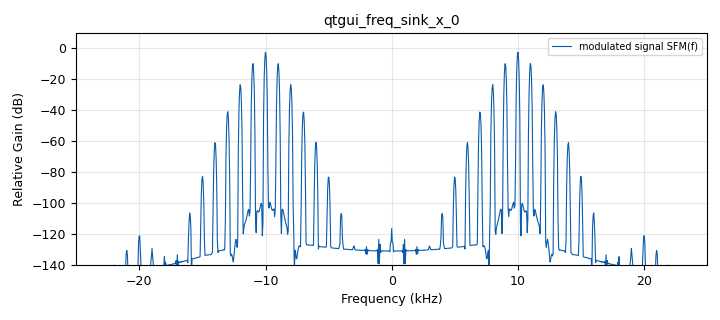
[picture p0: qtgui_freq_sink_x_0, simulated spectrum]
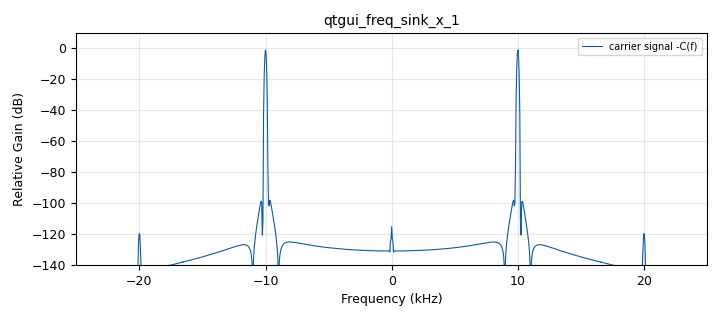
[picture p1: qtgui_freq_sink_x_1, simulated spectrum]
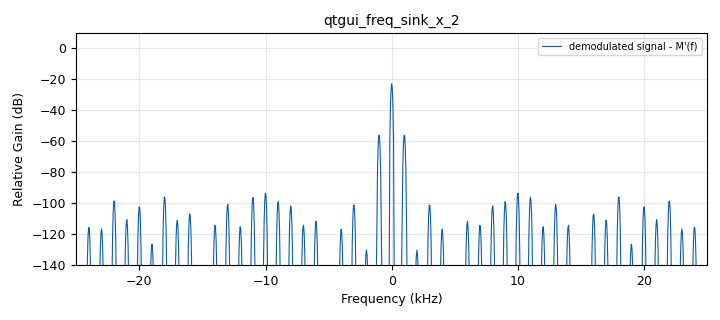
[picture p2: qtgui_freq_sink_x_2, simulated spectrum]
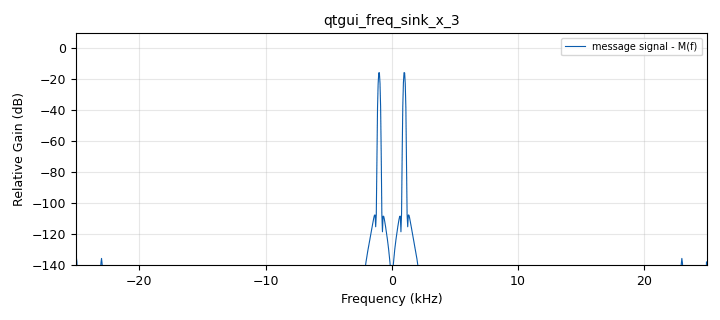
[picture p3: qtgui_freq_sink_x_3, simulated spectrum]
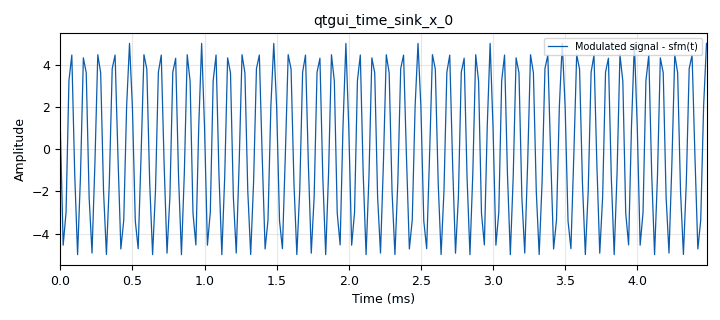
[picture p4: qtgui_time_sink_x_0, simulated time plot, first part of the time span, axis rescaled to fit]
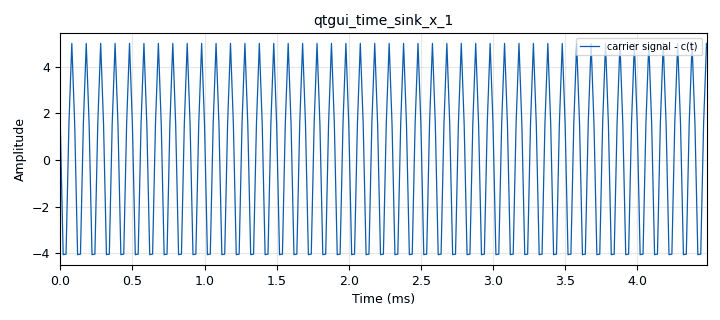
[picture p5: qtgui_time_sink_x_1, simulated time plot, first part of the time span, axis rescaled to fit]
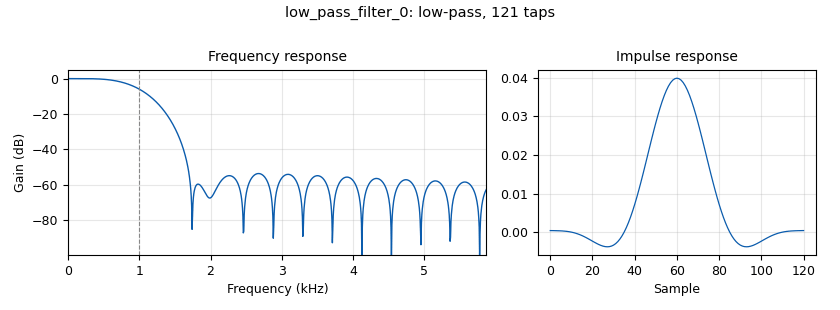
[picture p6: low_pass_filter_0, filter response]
options:
  parameters:
    author: saman
    generate_options: qt_gui
    id: fm
    output_language: python
    title: Not titled yet
  states: {}

blocks:
- name: samp_rate
  id: variable
  parameters:
    value: '50000'
  states: {}
- name: analog_sig_source_x_0
  id: analog_sig_source_x
  parameters:
    alias: Message signal
    amp: '1'
    freq: '1000'
    offset: '0'
    phase: '0'
    samp_rate: samp_rate
    type: float
    waveform: analog.GR_SIN_WAVE
  states: {}
- name: analog_sig_source_x_1
  id: analog_sig_source_x
  parameters:
    amp: '5'
    freq: '10000'
    offset: '0'
    phase: '0'
    samp_rate: samp_rate
    type: float
    waveform: analog.GR_COS_WAVE
  states: {}
- name: analog_sig_source_x_2
  id: analog_sig_source_x
  parameters:
    amp: '5'
    freq: '10000'
    offset: '0'
    phase: '0'
    samp_rate: samp_rate
    type: float
    waveform: analog.GR_SIN_WAVE
  states: {}
- name: blocks_add_xx_0
  id: blocks_add_xx
  parameters:
    type: float
  states: {}
- name: blocks_multiply_const_vxx_0
  id: blocks_multiply_const_vxx
  parameters:
    const: '0.8'
    type: float
  states: {}
- name: blocks_multiply_xx_0
  id: blocks_multiply_xx
  parameters:
    type: float
  states: {}
- name: blocks_multiply_xx_1
  id: blocks_multiply_xx
  parameters:
    type: float
  states: {}
- name: blocks_peak_detector_xb_0
  id: blocks_peak_detector_xb
  parameters:
    alpha: '0.001'
    look_ahead: '10'
    threshold_factor_fall: '0.40'
    threshold_factor_rise: '0.25'
    type: float
  states: {}
- name: blocks_transcendental_0
  id: blocks_transcendental
  parameters:
    name: cos
    type: float
  states: {}
- name: blocks_transcendental_1
  id: blocks_transcendental
  parameters:
    name: sin
    type: float
  states: {}
- name: blocks_uchar_to_float_0
  id: blocks_uchar_to_float
  parameters: {}
  states: {}
- name: low_pass_filter_0
  id: low_pass_filter
  parameters:
    cutoff_freq: '1000'
    decim: '1'
    gain: '1'
    samp_rate: samp_rate
    type: fir_filter_fff
    width: '1000'
    win: window.WIN_HAMMING
  states: {}
- name: qtgui_freq_sink_x_0
  id: qtgui_freq_sink_x
  parameters:
    bw: samp_rate
    ctrlpanel: 'True'
    fc: '0'
    fftsize: '1024'
    label1: modulated signal SFM(f)
    type: float
  states: {}
- name: qtgui_freq_sink_x_1
  id: qtgui_freq_sink_x
  parameters:
    bw: samp_rate
    ctrlpanel: 'True'
    fc: '0'
    fftsize: '1024'
    label1: carrier signal -C(f)
    type: float
  states: {}
- name: qtgui_freq_sink_x_2
  id: qtgui_freq_sink_x
  parameters:
    bw: samp_rate
    ctrlpanel: 'True'
    fc: '0'
    fftsize: '1024'
    label1: demodulated signal - M'(f)
    type: float
  states: {}
- name: qtgui_freq_sink_x_3
  id: qtgui_freq_sink_x
  parameters:
    bw: samp_rate
    ctrlpanel: 'True'
    fc: '0'
    fftsize: '1024'
    label1: message signal - M(f)
    type: float
  states: {}
- name: qtgui_time_sink_x_0
  id: qtgui_time_sink_x
  parameters:
    ctrlpanel: 'True'
    label1: Modulated signal - sfm(t)
    size: '1024'
    srate: samp_rate
    type: float
  states: {}
- name: qtgui_time_sink_x_1
  id: qtgui_time_sink_x
  parameters:
    ctrlpanel: 'True'
    label1: carrier signal - c(t)
    size: '1024'
    srate: samp_rate
    type: float
  states: {}
- name: qtgui_time_sink_x_2
  id: qtgui_time_sink_x
  parameters:
    ctrlpanel: 'True'
    label1: demodulated signal - m'(t)
    size: '1024'
    srate: samp_rate
    type: float
  states: {}
- name: qtgui_time_sink_x_3
  id: qtgui_time_sink_x
  parameters:
    ctrlpanel: 'True'
    label1: message signal - m(t)
    size: '1024'
    srate: samp_rate
    type: float
  states: {}

connections:
- [analog_sig_source_x_0, '0', blocks_multiply_const_vxx_0, '0']
- [analog_sig_source_x_0, '0', qtgui_freq_sink_x_3, '0']
- [analog_sig_source_x_0, '0', qtgui_time_sink_x_3, '0']
- [analog_sig_source_x_1, '0', blocks_multiply_xx_0, '0']
- [analog_sig_source_x_1, '0', qtgui_freq_sink_x_1, '0']
- [analog_sig_source_x_1, '0', qtgui_time_sink_x_1, '0']
- [analog_sig_source_x_2, '0', blocks_multiply_xx_1, '1']
- [blocks_add_xx_0, '0', blocks_peak_detector_xb_0, '0']
- [blocks_add_xx_0, '0', qtgui_freq_sink_x_0, '0']
- [blocks_add_xx_0, '0', qtgui_time_sink_x_0, '0']
- [blocks_multiply_const_vxx_0, '0', blocks_transcendental_0, '0']
- [blocks_multiply_const_vxx_0, '0', blocks_transcendental_1, '0']
- [blocks_multiply_xx_0, '0', blocks_add_xx_0, '0']
- [blocks_multiply_xx_1, '0', blocks_add_xx_0, '1']
- [blocks_peak_detector_xb_0, '0', blocks_uchar_to_float_0, '0']
- [blocks_transcendental_0, '0', blocks_multiply_xx_0, '1']
- [blocks_transcendental_1, '0', blocks_multiply_xx_1, '0']
- [blocks_uchar_to_float_0, '0', low_pass_filter_0, '0']
- [low_pass_filter_0, '0', qtgui_freq_sink_x_2, '0']
- [low_pass_filter_0, '0', qtgui_time_sink_x_2, '0']

metadata:
  file_format: 1
  grc_version: 3.10.9.2
